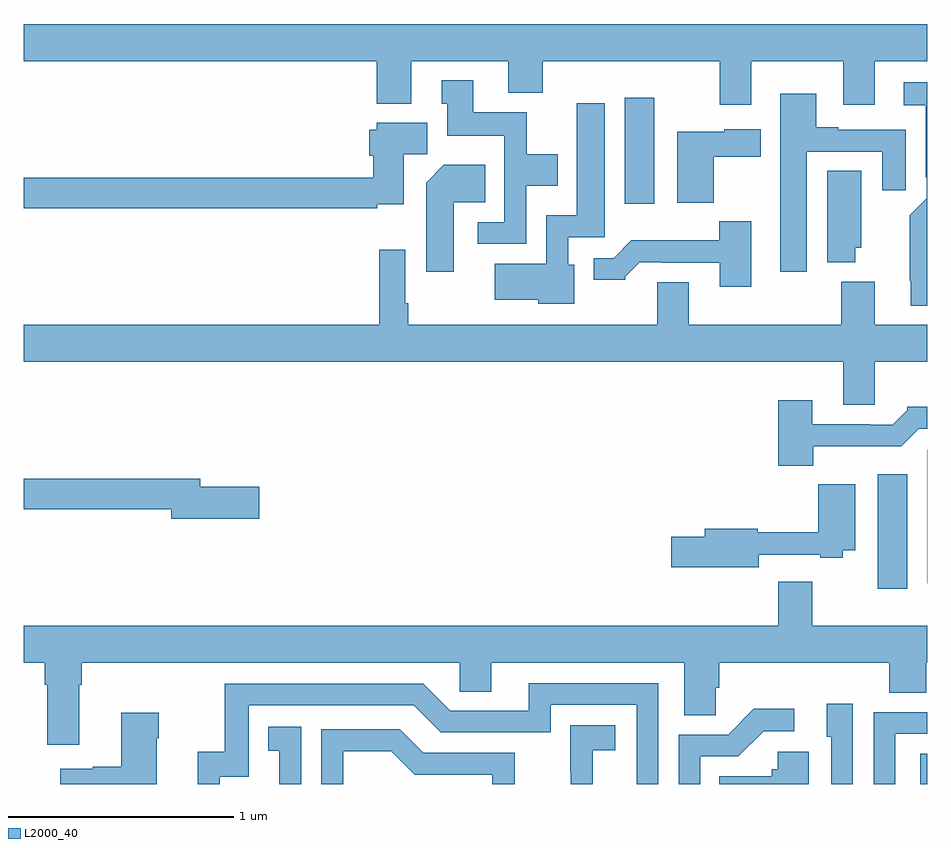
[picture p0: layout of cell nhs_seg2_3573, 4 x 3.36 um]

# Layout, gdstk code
import gdstk
lib = gdstk.Library(unit=1e-6, precision=1e-09)
def R(c, l, rs):  # rectangles x0, y0, x1, y1
    for r in rs: c.add(gdstk.rectangle(r[:2], r[2:], *l))
def P(c, l, *ps):  # polygons
    for p in ps: c.add(gdstk.Polygon(p, *l))
L2000_40 = (2000, 40)

nhs_seg2_3573 = lib.new_cell('nhs_seg2_3573')
R(nhs_seg2_3573, L2000_40, [(302.969,613.8,303,613.933), (302.78,614.664,302.911,615.172), (302.999,614.688,303,615.279), (301.661,616.368,301.792,616.837)])
P(nhs_seg2_3573, L2000_40, [(302.221,617),(302.627,617),(302.627,616.806),(302.767,616.806),(302.767,617),(303,617),(303,617.164),(299,617.164),(299,617),(300.563,617),(300.563,616.811),(300.715,616.811),(300.715,617),(301.145,617),(301.145,616.859),(301.298,616.859),(301.298,617),(302.081,617),(302.081,616.806),(302.221,616.806)],
  [(301.224,616.448),(301.363,616.448),(301.363,616.588),(301.227,616.588),(301.227,616.774),(300.991,616.774),(300.991,616.915),(300.851,616.915),(300.851,616.812),(300.875,616.812),(300.875,616.67),(301.128,616.67),(301.128,616.287),(301.011,616.287),(301.011,616.191),(301.224,616.191)],
  [(303,616.906),(302.895,616.906),(302.895,616.805),(302.993,616.805),(302.993,616.486),(302.997,616.486),(302.997,616.392),(302.923,616.318),(302.923,616.027),(302.927,616.027),(302.927,615.917),(303,615.917)],
  [(302.467,616.599),(302.801,616.599),(302.801,616.428),(302.905,616.428),(302.905,616.695),(302.605,616.695),(302.605,616.708),(302.509,616.708),(302.509,616.855),(302.348,616.855),(302.348,616.068),(302.467,616.068)],
  [(301.438,616.098),(301.41,616.098),(301.41,616.221),(301.573,616.221),(301.573,616.813),(301.448,616.813),(301.448,616.318),(301.314,616.318),(301.314,616.102),(301.086,616.102),(301.086,615.944),(301.278,615.944),(301.278,615.926),(301.438,615.926)],
  [(300.566,616.367),(300.682,616.367),(300.682,616.588),(300.787,616.588),(300.787,616.726),(300.564,616.726),(300.564,616.695),(300.53,616.695),(300.53,616.581),(300.548,616.581),(300.548,616.484),(299,616.484),(299,616.348),(300.566,616.348)],
  [(302.054,616.577),(302.263,616.577),(302.263,616.699),(302.1,616.699),(302.1,616.687),(301.892,616.687),(301.892,616.373),(302.054,616.373)],
  [(300.904,616.376),(301.043,616.376),(301.043,616.54),(300.86,616.54),(300.782,616.462),(300.782,616.068),(300.904,616.068)],
  [(302.68,616.173),(302.707,616.173),(302.707,616.514),(302.558,616.514),(302.558,616.109),(302.68,616.109)],
  [(302.221,616.291),(302.079,616.291),(302.079,616.207),(301.69,616.207),(301.611,616.128),(301.523,616.128),(301.523,616.031),(301.662,616.031),(301.662,616.046),(301.726,616.11),(301.825,616.11),(301.825,616.107),(302.081,616.107),(302.081,616.002),(302.221,616.002)],
  [(300.69,615.928),(300.69,616.165),(300.574,616.165),(300.574,615.832),(299,615.832),(299,615.668),(302.627,615.668),(302.627,615.478),(302.767,615.478),(302.767,615.668),(303,615.668),(303,615.832),(302.767,615.832),(302.767,616.024),(302.62,616.024),(302.62,615.832),(301.945,615.832),(301.945,616.022),(301.805,616.022),(301.805,615.832),(300.703,615.832),(300.703,615.928)],
  [(302.494,615.296),(302.885,615.296),(302.961,615.372),(303,615.372),(303,615.469),(302.91,615.469),(302.91,615.454),(302.846,615.39),(302.747,615.39),(302.747,615.393),(302.491,615.393),(302.491,615.499),(302.339,615.499),(302.339,615.209),(302.494,615.209)],
  [(300.043,615.116),(299.782,615.116),(299.782,615.152),(299,615.152),(299,615.016),(299.654,615.016),(299.654,614.974),(300.043,614.974)],
  [(302.254,614.814),(302.525,614.814),(302.525,614.802),(302.625,614.802),(302.625,614.834),(302.68,614.834),(302.68,615.127),(302.518,615.127),(302.518,614.915),(302.25,614.915),(302.25,614.93),(302.015,614.93),(302.015,614.894),(301.866,614.894),(301.866,614.759),(302.254,614.759)],
  [(299.245,614.24),(299.258,614.24),(299.258,614.336),(300.93,614.336),(300.93,614.209),(301.069,614.209),(301.069,614.336),(301.925,614.336),(301.925,614.104),(302.064,614.104),(302.064,614.227),(302.078,614.227),(302.078,614.336),(302.831,614.336),(302.831,614.203),(302.996,614.203),(302.996,614.336),(303,614.336),(303,614.5),(302.491,614.5),(302.491,614.695),(302.339,614.695),(302.339,614.5),(299,614.5),(299,614.336),(299.093,614.336),(299.093,614.24),(299.105,614.24),(299.105,613.974),(299.245,613.974)],
  [(299.868,613.833),(299.997,613.833),(299.997,614.148),(300.726,614.148),(300.846,614.028),(301.332,614.028),(301.332,614.151),(301.713,614.151),(301.713,613.8),(301.809,613.8),(301.809,614.247),(301.235,614.247),(301.235,614.124),(300.888,614.124),(300.768,614.244),(299.889,614.244),(299.889,613.942),(299.771,613.942),(299.771,613.8),(299.868,613.8)],
  [(302.67,614.155),(302.555,614.155),(302.555,614.01),(302.574,614.01),(302.574,613.8),(302.67,613.8)],
  [(301.995,613.923),(302.164,613.923),(302.275,614.034),(302.41,614.034),(302.41,614.132),(302.231,614.132),(302.118,614.019),(301.899,614.019),(301.899,613.8),(301.995,613.8)],
  [(302.859,614.022),(303,614.022),(303,614.118),(302.763,614.118),(302.763,613.8),(302.859,613.8)],
  [(299.59,614.003),(299.598,614.003),(299.598,614.116),(299.432,614.116),(299.432,613.877),(299.306,613.877),(299.306,613.867),(299.163,613.867),(299.163,613.8),(299.59,613.8)],
  [(301.52,613.949),(301.618,613.949),(301.618,614.059),(301.42,614.059),(301.42,613.853),(301.421,613.853),(301.421,613.8),(301.52,613.8)],
  [(300.228,614.053),(300.082,614.053),(300.082,613.947),(300.131,613.947),(300.131,613.8),(300.228,613.8)],
  [(300.414,613.946),(300.628,613.946),(300.732,613.842),(301.074,613.842),(301.074,613.8),(301.173,613.8),(301.173,613.938),(300.769,613.938),(300.664,614.043),(300.318,614.043),(300.318,613.8),(300.414,613.8)],
  [(302.476,613.942),(302.337,613.942),(302.337,613.866),(302.311,613.866),(302.311,613.834),(302.08,613.834),(302.08,613.8),(302.476,613.8)])

lib.write_gds('nhs_seg2_3573.gds')
